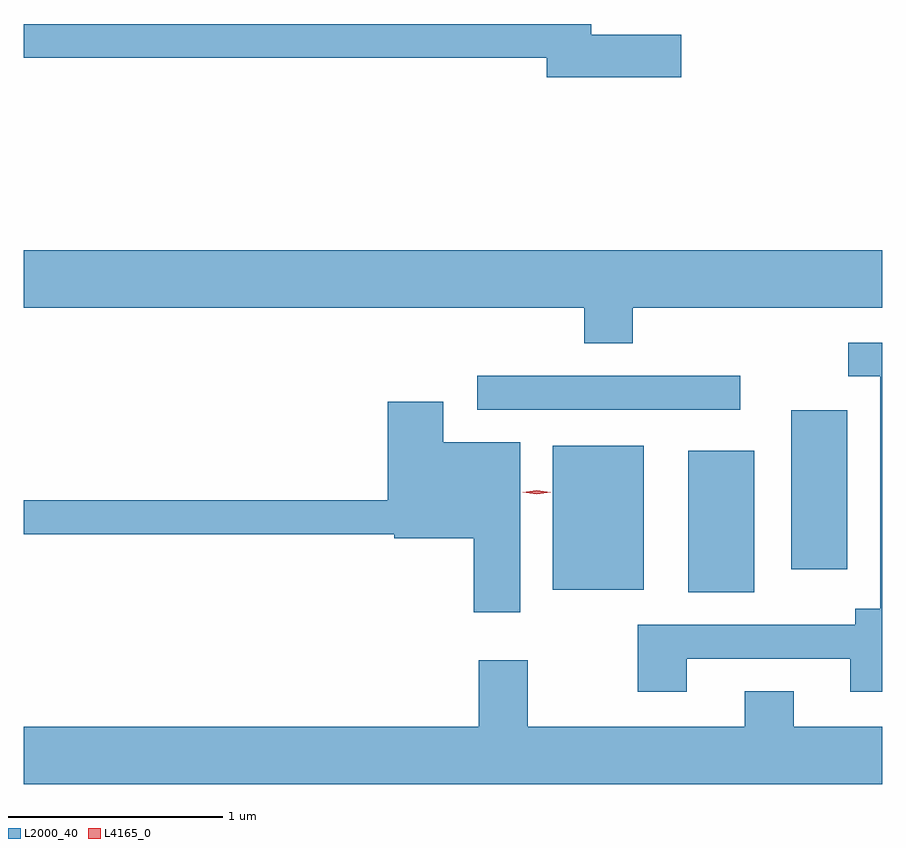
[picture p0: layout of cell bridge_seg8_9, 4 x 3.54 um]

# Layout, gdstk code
import gdstk
lib = gdstk.Library(unit=1e-6, precision=1e-09)
def R(c, l, rs):  # rectangles x0, y0, x1, y1
    for r in rs: c.add(gdstk.rectangle(r[:2], r[2:], *l))
def P(c, l, *ps):  # polygons
    for p in ps: c.add(gdstk.Polygon(p, *l))
L2000_40 = (2000, 40)
L4165_0 = (4165, 0)

bridge_seg8_9 = lib.new_cell('bridge_seg8_9')
R(bridge_seg8_9, L2000_40, [(1664.106,1928.331,1664.414,1928.989), (1663.476,1928.341,1663.899,1929.014), (1664.586,1928.436,1664.849,1929.179), (1663.123,1929.181,1664.348,1929.339)])
P(bridge_seg8_9, L2000_40, [(1664.074,1930.929),(1663.654,1930.929),(1663.654,1930.979),(1661.01,1930.979),(1661.01,1930.821),(1663.446,1930.821),(1663.446,1930.731),(1664.074,1930.731)],
  [(1663.849,1929.656),(1665.01,1929.656),(1665.01,1929.924),(1661.01,1929.924),(1661.01,1929.656),(1663.621,1929.656),(1663.621,1929.491),(1663.849,1929.491)],
  [(1664.099,1928.021),(1664.861,1928.021),(1664.861,1927.866),(1665.01,1927.866),(1665.01,1929.494),(1664.853,1929.494),(1664.853,1929.336),(1665.001,1929.336),(1665.001,1928.254),(1664.886,1928.254),(1664.886,1928.179),(1663.871,1928.179),(1663.871,1927.866),(1664.099,1927.866)],
  [(1663.324,1929.029),(1662.964,1929.029),(1662.964,1929.219),(1662.706,1929.219),(1662.706,1928.759),(1661.01,1928.759),(1661.01,1928.601),(1662.736,1928.601),(1662.736,1928.581),(1663.106,1928.581),(1663.106,1928.236),(1663.324,1928.236)],
  [(1665.01,1927.704),(1664.599,1927.704),(1664.599,1927.869),(1664.371,1927.869),(1664.371,1927.704),(1663.359,1927.704),(1663.359,1928.014),(1663.131,1928.014),(1663.131,1927.704),(1661.01,1927.704),(1661.01,1927.436),(1665.01,1927.436)])
P(bridge_seg8_9, L4165_0, [(1663.4,1928.786),(1663.334,1928.796),(1663.333,1928.796),(1663.334,1928.797),(1663.4,1928.806),(1663.466,1928.796),(1663.466,1928.796),(1663.466,1928.795)])

lib.write_gds('bridge_seg8_9.gds')
